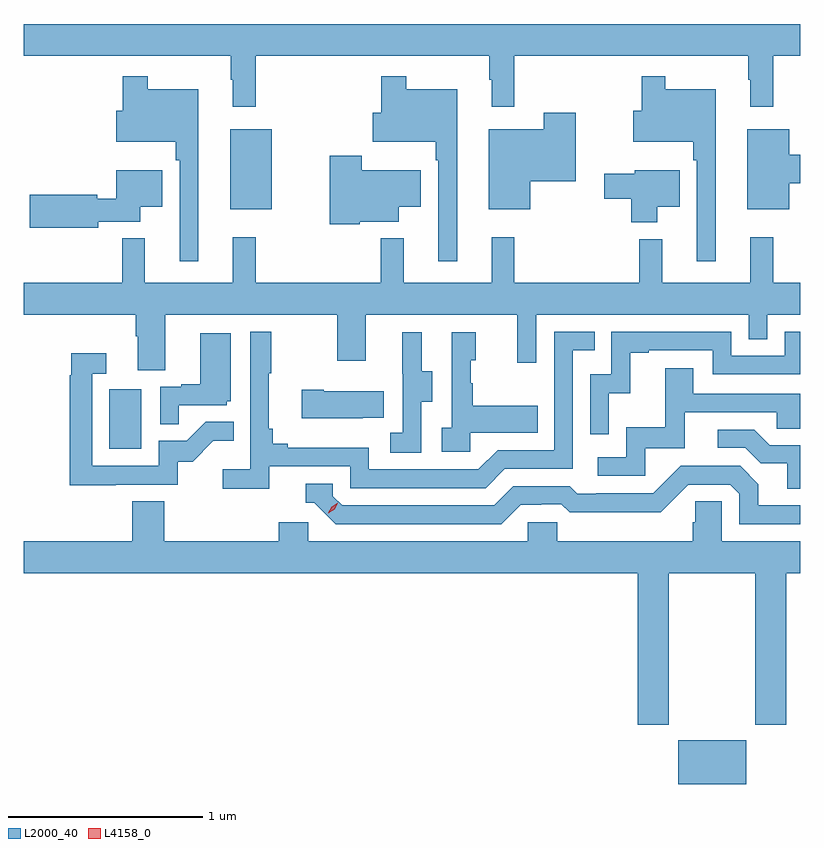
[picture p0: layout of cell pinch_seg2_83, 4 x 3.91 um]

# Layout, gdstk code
import gdstk
lib = gdstk.Library(unit=1e-6, precision=1e-09)
def R(c, l, rs):  # rectangles x0, y0, x1, y1
    for r in rs: c.add(gdstk.rectangle(r[:2], r[2:], *l))
def P(c, l, *ps):  # polygons
    for p in ps: c.add(gdstk.Polygon(p, *l))
L2000_40 = (2000, 40)
L4158_0 = (4158, 0)

pinch_seg2_83 = lib.new_cell('pinch_seg2_83')
R(pinch_seg2_83, L2000_40, [(1055.804,646.551,1056.154,646.777), (1052.876,648.276,1053.04,648.583), (1053.497,649.511,1053.712,649.921)])
P(pinch_seg2_83, L2000_40, [(1053.629,650.3),(1054.833,650.3),(1054.833,650.177),(1054.844,650.177),(1054.844,650.037),(1054.961,650.037),(1054.961,650.3),(1056.165,650.3),(1056.165,650.177),(1056.176,650.177),(1056.176,650.037),(1056.293,650.037),(1056.293,650.3),(1056.434,650.3),(1056.434,650.464),(1052.434,650.464),(1052.434,650.3),(1053.501,650.3),(1053.501,650.177),(1053.512,650.177),(1053.512,650.037),(1053.629,650.037)],
  [(1053.334,650.128),(1053.073,650.128),(1053.073,650.194),(1052.944,650.194),(1052.944,650.017),(1052.91,650.017),(1052.91,649.859),(1053.217,649.859),(1053.217,649.763),(1053.237,649.763),(1053.237,649.242),(1053.334,649.242)],
  [(1054.666,650.128),(1054.405,650.128),(1054.405,650.194),(1054.276,650.194),(1054.276,650.007),(1054.232,650.007),(1054.232,649.859),(1054.557,649.859),(1054.557,649.763),(1054.569,649.763),(1054.569,649.242),(1054.666,649.242)],
  [(1055.998,650.128),(1055.737,650.128),(1055.737,650.194),(1055.616,650.194),(1055.616,650.017),(1055.574,650.017),(1055.574,649.859),(1055.881,649.859),(1055.881,649.763),(1055.901,649.763),(1055.901,649.242),(1055.998,649.242)],
  [(1055.044,649.655),(1055.278,649.655),(1055.278,650.008),(1055.113,650.008),(1055.113,649.921),(1054.829,649.921),(1054.829,649.511),(1055.044,649.511)],
  [(1056.376,649.643),(1056.434,649.643),(1056.434,649.79),(1056.376,649.79),(1056.376,649.921),(1056.161,649.921),(1056.161,649.511),(1056.376,649.511)],
  [(1054.164,649.445),(1054.366,649.445),(1054.366,649.523),(1054.48,649.523),(1054.48,649.711),(1054.176,649.711),(1054.176,649.786),(1054.01,649.786),(1054.01,649.433),(1054.164,649.433)],
  [(1055.698,649.523),(1055.812,649.523),(1055.812,649.711),(1055.58,649.711),(1055.58,649.693),(1055.424,649.693),(1055.424,649.564),(1055.564,649.564),(1055.564,649.442),(1055.698,649.442)],
  [(1052.818,649.445),(1053.034,649.445),(1053.034,649.523),(1053.148,649.523),(1053.148,649.711),(1052.912,649.711),(1052.912,649.563),(1052.814,649.563),(1052.814,649.586),(1052.466,649.586),(1052.466,649.415),(1052.818,649.415)],
  [(1053.163,648.968),(1054.048,648.968),(1054.048,648.729),(1054.195,648.729),(1054.195,648.968),(1054.976,648.968),(1054.976,648.72),(1055.073,648.72),(1055.073,648.968),(1056.168,648.968),(1056.168,648.841),(1056.264,648.841),(1056.264,648.968),(1056.434,648.968),(1056.434,649.132),(1056.293,649.132),(1056.293,649.366),(1056.176,649.366),(1056.176,649.132),(1055.723,649.132),(1055.723,649.357),(1055.605,649.357),(1055.605,649.132),(1054.961,649.132),(1054.961,649.366),(1054.844,649.366),(1054.844,649.132),(1054.391,649.132),(1054.391,649.36),(1054.273,649.36),(1054.273,649.132),(1053.629,649.132),(1053.629,649.366),(1053.512,649.366),(1053.512,649.132),(1053.059,649.132),(1053.059,649.36),(1052.941,649.36),(1052.941,649.132),(1052.434,649.132),(1052.434,648.968),(1053.011,648.968),(1053.011,648.856),(1053.023,648.856),(1053.023,648.682),(1053.163,648.682)],
  [(1053.698,648.186),(1054.116,648.186),(1054.116,648.075),(1054.813,648.075),(1054.912,648.174),(1055.262,648.174),(1055.262,648.783),(1055.375,648.783),(1055.375,648.879),(1055.166,648.879),(1055.166,648.27),(1054.875,648.27),(1054.776,648.171),(1054.212,648.171),(1054.212,648.283),(1053.793,648.283),(1053.793,648.302),(1053.716,648.302),(1053.716,648.379),(1053.697,648.379),(1053.697,648.667),(1053.709,648.667),(1053.709,648.88),(1053.6,648.88),(1053.6,648.172),(1053.459,648.172),(1053.459,648.07),(1053.698,648.07)],
  [(1055.448,648.563),(1055.558,648.563),(1055.558,648.771),(1055.653,648.771),(1055.653,648.783),(1055.982,648.783),(1055.982,648.66),(1056.434,648.66),(1056.434,648.879),(1056.354,648.879),(1056.354,648.756),(1056.078,648.756),(1056.078,648.879),(1055.46,648.879),(1055.46,648.66),(1055.352,648.66),(1055.352,648.351),(1055.448,648.351)],
  [(1054.734,648.359),(1055.081,648.359),(1055.081,648.499),(1054.747,648.499),(1054.747,648.614),(1054.737,648.614),(1054.737,648.732),(1054.762,648.732),(1054.762,648.877),(1054.638,648.877),(1054.638,648.386),(1054.587,648.386),(1054.587,648.261),(1054.734,648.261)],
  [(1054.482,648.52),(1054.537,648.52),(1054.537,648.675),(1054.483,648.675),(1054.483,648.877),(1054.385,648.877),(1054.385,648.663),(1054.386,648.663),(1054.386,648.359),(1054.323,648.359),(1054.323,648.256),(1054.482,648.256)],
  [(1053.233,648.501),(1053.48,648.501),(1053.48,648.522),(1053.502,648.522),(1053.502,648.871),(1053.344,648.871),(1053.344,648.61),(1053.245,648.61),(1053.245,648.597),(1053.138,648.597),(1053.138,648.403),(1053.233,648.403)],
  [(1052.909,648.093),(1053.228,648.093),(1053.228,648.21),(1053.304,648.21),(1053.411,648.317),(1053.515,648.317),(1053.515,648.416),(1053.371,648.416),(1053.273,648.318),(1053.129,648.318),(1053.129,648.189),(1052.787,648.189),(1052.787,648.663),(1052.86,648.663),(1052.86,648.769),(1052.679,648.769),(1052.679,648.656),(1052.671,648.656),(1052.671,648.088),(1052.909,648.088)],
  [(1055.634,648.279),(1055.839,648.279),(1055.839,648.465),(1056.313,648.465),(1056.313,648.381),(1056.434,648.381),(1056.434,648.561),(1055.881,648.561),(1055.881,648.691),(1055.737,648.691),(1055.737,648.388),(1055.538,648.388),(1055.538,648.234),(1055.391,648.234),(1055.391,648.138),(1055.634,648.138)],
  [(1054.181,648.437),(1054.289,648.437),(1054.289,648.574),(1053.979,648.574),(1053.979,648.582),(1053.867,648.582),(1053.867,648.434),(1054.181,648.434)],
  [(1056.434,648.294),(1056.277,648.294),(1056.196,648.375),(1056.009,648.375),(1056.009,648.282),(1056.15,648.282),(1056.23,648.202),(1056.365,648.202),(1056.365,648.07),(1056.434,648.07)],
  [(1054.993,647.988),(1055.1,647.988),(1055.1,647.991),(1055.203,647.991),(1055.245,647.949),(1055.478,647.949),(1055.478,647.951),(1055.714,647.951),(1055.856,648.093),(1056.072,648.093),(1056.12,648.045),(1056.12,647.889),(1056.434,647.889),(1056.434,647.985),(1056.217,647.985),(1056.217,648.095),(1056.123,648.189),(1055.817,648.189),(1055.676,648.048),(1055.383,648.048),(1055.383,648.045),(1055.284,648.045),(1055.245,648.084),(1054.956,648.084),(1054.857,647.985),(1054.074,647.985),(1054.026,648.033),(1054.026,648.096),(1053.887,648.096),(1053.887,648),(1053.93,648),(1054.041,647.889),(1054.894,647.889)],
  [(1055.757,647.636),(1056.202,647.636),(1056.202,646.857),(1056.362,646.857),(1056.362,647.636),(1056.434,647.636),(1056.434,647.8),(1056.03,647.8),(1056.03,648.008),(1055.893,648.008),(1055.893,647.898),(1055.879,647.898),(1055.879,647.8),(1055.181,647.8),(1055.181,647.898),(1055.031,647.898),(1055.031,647.8),(1053.9,647.8),(1053.9,647.898),(1053.749,647.898),(1053.749,647.8),(1053.158,647.8),(1053.158,648.008),(1052.993,648.008),(1052.993,647.8),(1052.434,647.8),(1052.434,647.636),(1055.597,647.636),(1055.597,646.857),(1055.757,646.857)])
P(pinch_seg2_83, L4158_0, [(1054.004,647.946),(1054.004,647.947),(1054.02,647.979),(1054.051,647.998),(1054.051,647.998),(1054.051,647.998),(1054.035,647.965),(1054.004,647.946)])

lib.write_gds('pinch_seg2_83.gds')
